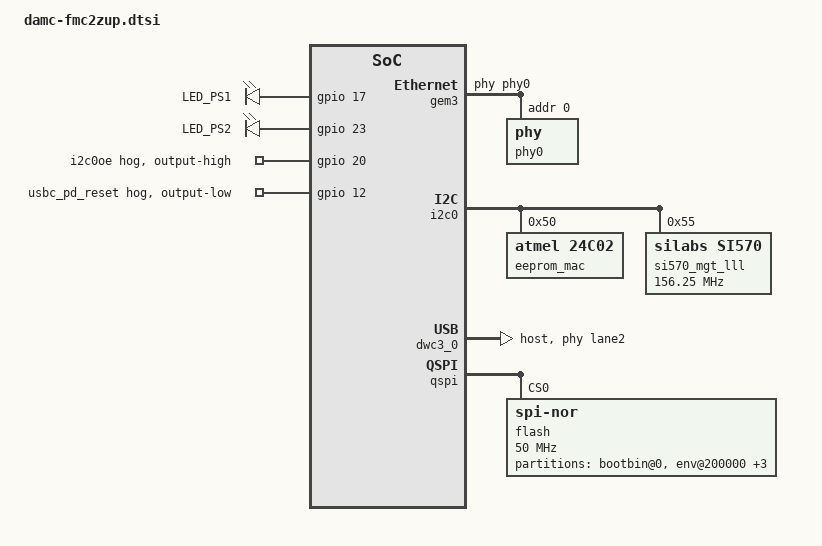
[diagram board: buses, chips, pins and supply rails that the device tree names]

#include "dt-bindings/gpio/gpio.h"
#include "dt-bindings/phy/phy.h"

/ {
    chosen {
        xlnx,eeprom = &eeprom_mac;
    };

    gpio-leds {
        compatible = "gpio-leds";

        // MIO17 and MIO23 are PS LEDs
        led-ps1 {
            label = "LED_PS1";
            linux,default-trigger = "heartbeat";
            gpios = <&gpio 17 GPIO_ACTIVE_HIGH>;
        };

        led-ps2 {
            label = "LED_PS2";
            linux,default-trigger = "mmc0";
            gpios = <&gpio 23 GPIO_ACTIVE_HIGH>;
        };
    };
};

&gem3 {
    phy-handle = <&phy0>;

    phy0: phy@0 {
        // Marvel 88E1512
        //   compatible string is not needed
        reg = <0>;
        device_type = "ethernet-phy";
        marvell,reg-init =
            // This is apparently to fix a HW issue
            // (polarity swapped on S_IN/S_OUT terminals)
            <254 15 0x3fff 0>,
            // Set Fiber Auto-Negotiation Advertisement Register to 1000BASE-X Full-Duplex *only*
            // Needed for kernel 5.10
            <1 4 0x0000 0x0020>;
    };
};

&sdhci0 {
    // WP pin is not available on microSD, not connected on the board
    disable-wp;

    // the HW does not support SD 3.0
    no-1-8-v;
};

&gpio {
    i2c0oe {
        gpio-hog;
        output-high;
        gpios = <20 GPIO_ACTIVE_HIGH>;
    };

    usbc_pd_reset {
        gpio-hog;
        output-low;
        gpios = <12 GPIO_ACTIVE_HIGH>;
    };
};

&i2c0 {
    eeprom_mac: eeprom@50 {
        compatible = "atmel,24c02";
        reg = <0x50>;
        pagesize = <16>;
    };

    si570_mgt_lll: clock-generator@5d {
        #clock-cells = <0>;
        compatible = "silabs,si570";
        temperature-stability = <50>;
        reg = <0x55>;
        factory-fout = <125000000>;
        clock-frequency = <156250000>;
        clock-output-names = "si570_mgt_lll";
    };

    /* Si Labs at 0x76, 0x77 are handled by a separate script */
};

&eeprom_mac  {
    #address-cells = <1>;
    #size-cells = <1>;

    eth_mac: eth_mac@fa {
        reg = <0xfa 0x6>;
    };
};

&dwc3_0 {
    dr_mode = "host";
    snps,usb3_lpm_capable;
    phy-names = "usb3-phy";
    phys = <&lane2 PHY_TYPE_USB3 0 2 26000000>;
    maximum-speed = "super-speed";
};

// copied from ZCU104
// and https://www.zachpfeffer.com/single-post/Integrate-a-QSPI-using-PetaLinux-Tools-Part-2
// going very slow
&qspi {
    flash@0 {
        compatible = "jedec,spi-nor";
        #address-cells = <1>;
        #size-cells = <1>;
        reg = <0x0>;
        spi-tx-bus-width = <4>;
        spi-rx-bus-width = <4>;
        spi-max-frequency = <50000000>;
        partitions {
            compatible = "fixed-partitions";
            #address-cells = <1>;
            #size-cells = <1>;
            bootbin@0 {
                /* 2M for FSBL + Uboot */
                reg = <0x00000000 0x00200000>;
            };
            env@200000 {
                /* 256k for Uboot env */
                reg = <0x00200000 0x00040000>;
            };
            dts@240000 {
                /* 256k for device tree */
                reg = <0x00240000 0x00040000>;
            };
            image@280000 {
                /* 32M for kernel */
                reg = <0x00280000 0x02000000>;
            };
            recovery@2280000 {
                /* 93.5M remaining for recovery-rootfs */
                reg = <0x02280000 0x05D80000>;
            };
        };
    };
};

